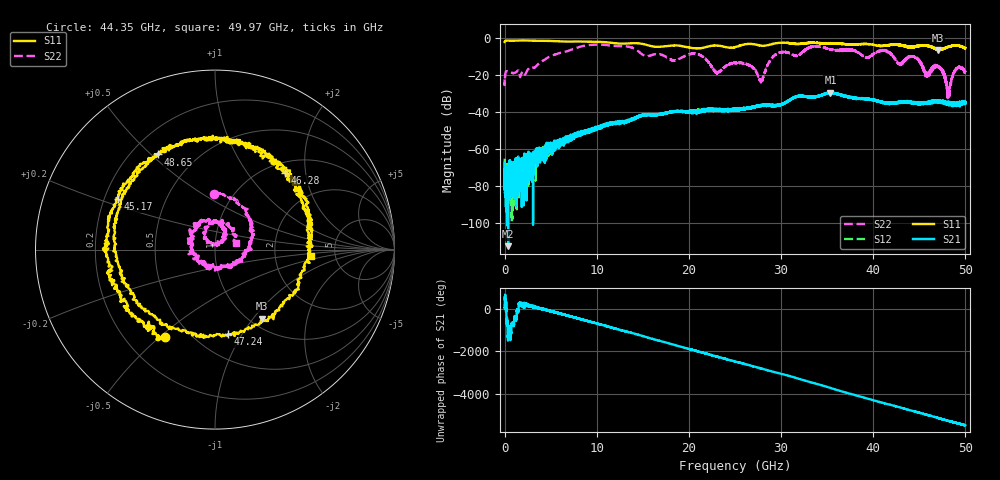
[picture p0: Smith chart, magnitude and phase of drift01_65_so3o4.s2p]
!Created with skrf (http://scikit-rf.org).
# Hz S RI R 50.0
!freq ReS11 ImS11 ReS21 ImS21 ReS12 ImS12 ReS22 ImS22
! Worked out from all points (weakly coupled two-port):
!   10001 points, 300 kHz to 50 GHz, reference 50 ohm
!   highest |S21| = -29.55 dB at 35.36 GHz (marker M1); lowest = -112.8 dB at 385.3 MHz (marker M2)
!   lowest |S11| = -6.6 dB at 47.07 GHz (marker M3), VSWR 2.74, Z = 56.6 - j55.6 ohm
!   |S11| at or under -10 dB: nowhere
!   |S22| runs from -32.6 to -3.6 dB; largest |S21 - S12| = 0.0044
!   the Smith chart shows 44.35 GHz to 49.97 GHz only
!   S11 on the Smith chart (normalised r, x): 44.35 GHz: 0.37, -0.52; 45.17 GHz: 0.25, +0.23; 46.28 GHz: 1.19, +1.54; 47.24 GHz: 0.71, -0.87; 48.65 GHz: 0.31, +0.53; 49.97 GHz: 3.29, -0.31
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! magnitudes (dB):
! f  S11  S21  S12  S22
! 300 kHz  -2.1  -67.7  -65.3  -22.4
! 385.3 MHz  -1.4  -112.8  -72.1  -18.1
! 8.335 GHz  -1.9  -51.6  -51.2  -4.6
! 16.67 GHz  -4.8  -41.3  -41.2  -8.7
! 20.97 GHz  -5.6  -39.3  -40.4  -8.8
! 23.1 GHz  -4.1  -39.1  -39.4  -18.7
! 25 GHz  -5.0  -38.9  -38.8  -13.7
! 27.85 GHz  -4.2  -36.5  -36.5  -23.1
! 29.44 GHz  -2.9  -36.7  -36.6  -9.0
! 33.34 GHz  -2.6  -32.1  -31.9  -4.8
! 35.36 GHz  -2.7  -29.6  -29.7  -6.3
! 41.67 GHz  -3.9  -35.4  -35.4  -8.0
! 42.9 GHz  -3.9  -34.6  -34.6  -14.2
! 44.35 GHz  -5.0  -34.9  -35.1  -10.1
! 45.17 GHz  -4.3  -35.5  -35.3  -13.9
! 46.28 GHz  -4.7  -34.4  -35.1  -18.0
! 47.07 GHz  -6.6  -34.8  -34.4  -15.4
! 47.24 GHz  -6.4  -34.3  -34.0  -16.2
! 48.11 GHz  -4.9  -35.4  -35.3  -29.8
! 48.65 GHz  -4.2  -35.8  -35.1  -19.7
! 49.97 GHz  -5.4  -34.8  -34.7  -18.1
! 50 GHz  -5.4  -35.5  -34.6  -17.9
